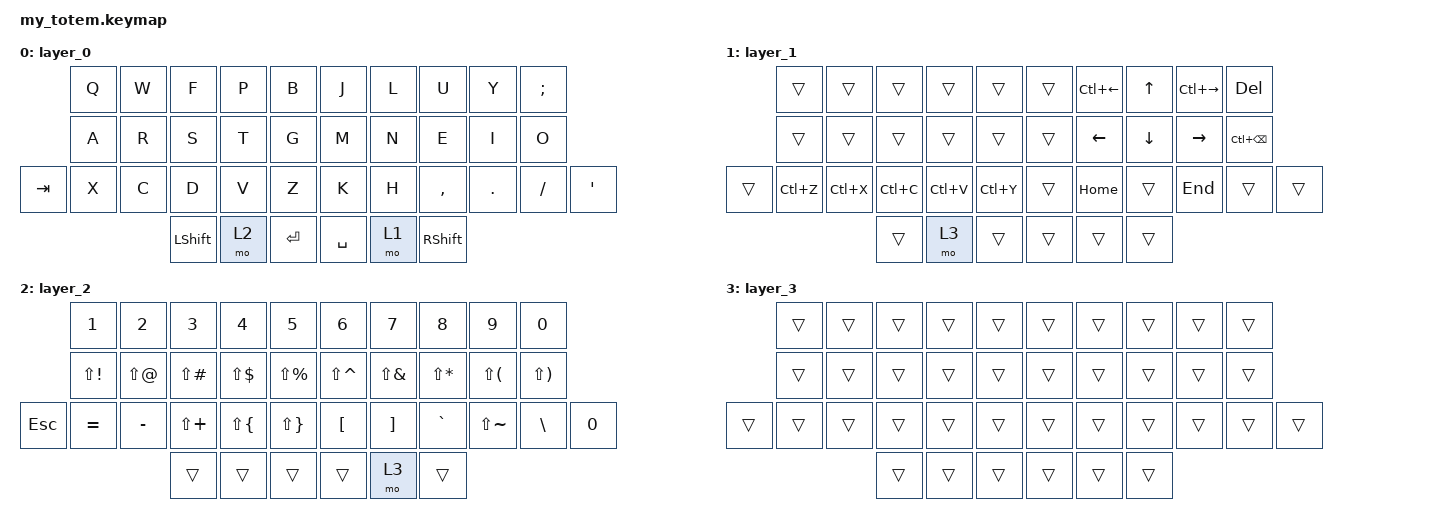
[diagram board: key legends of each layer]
//
//                                                        ▀▀▀▀▀     ▀▀▀▀▀          ▀▀█▀▀
//                                                        ▄▀▀▀▄  ▄  ▄▀▀▀▄  ▄  ▄▀▀▀▄  █  ▄▀▀▀▄
//                                                        █   █  █  █   █  █  █   █  █  █   █
//                                                         ▀▀▀   █   ▀▀▀   █   ▀▀▀   ▀   ▀▀▀
//                                                               █      ▄▄▄█▄▄▄    █   █  
//                                                               ▀      █  █  █     █▄█
//                                                             ▀▀▀▀▀    █  █  █      ▀
//                                                                      ▀  ▀  ▀
//
// ▄▄▄▄▄▄▄▄▄▄▄▄▄▄▄▄▄▄▄▄▄▄▄▄▄▄▄▄▄▄▄▄▄▄▄▄▄▄▄▄▄▄▄▄▄▄▄▄▄▄▄▄▄▄▄▄▄▄▄▄▄▄▄▄▄▄▄▄▄▄▄▄▄▄▄▄▄▄▄▄▄▄▄▄▄▄▄▄▄▄▄▄▄▄▄▄▄▄▄▄▄▄▄▄▄▄▄▄▄▄▄▄▄▄▄▄▄▄▄▄▄▄▄▄▄▄▄▄▄▄▄▄▄▄▄▄▄▄▄▄▄▄▄▄▄▄▄▄▄
       

#include <behaviors.dtsi>
#include <dt-bindings/zmk/keys.h>
#include <dt-bindings/zmk/bt.h>
#include <dt-bindings/zmk/outputs.h>


/ {
    combos {
        compatible = "zmk,combos";

        escape {
            bindings = <&kp ESCAPE>;
            key-positions = <0 1>;
        };

        delete {
            bindings = <&kp BACKSPACE>;
            key-positions = <19 18>;
        };
    };

    behaviors {
        hold: hold {
            compatible = "zmk,behavior-hold-tap";
            label = "HOLD";
            bindings = <&none>, <&none>;

            #binding-cells = <2>;
            require-prior-idle-ms = <50>;
            tapping-term-ms = <50>;
        };
    };

    keymap {
        compatible = "zmk,keymap";

        layer_0 {
            bindings = <
         &kp Q  &kp W  &kp F      &kp P  &kp B      &kp J      &kp L  &kp U      &kp Y    &kp SEMI
         &kp A  &kp R  &kp S      &kp T  &kp G      &kp M      &kp N  &kp E      &kp I    &kp O
&kp TAB  &kp X  &kp C  &kp D      &kp V  &kp Z      &kp K      &kp H  &kp COMMA  &kp DOT  &kp FSLH  &kp SQT
                       &kp LSHFT  &mo 2  &kp RET    &kp SPACE  &mo 1  &kp RSHFT
            >;
        };

        layer_1 {
            bindings = <
        &trans     &trans     &trans     &trans     &trans       &kp PG_UP  &kp LC(LEFT)  &kp UP    &kp LC(RIGHT)  &kp DEL
        &trans     &trans     &trans     &trans     &kp CAPS     &trans     &kp LEFT      &kp DOWN  &kp RIGHT      &kp LC(BSPC)
&trans  &kp LC(Z)  &kp LC(X)  &kp LC(C)  &kp LC(V)  &kp LC(Y)    &kp PG_DN  &kp HOME      &trans    &kp END        &trans        &trans
                              &trans     &mo 3      &trans       &trans     &trans        &trans
            >;
        };

        layer_2 {
            bindings = <
            &kp N1        &kp N2      &kp N3         &kp N4        &kp N5           &kp N6         &kp N7        &kp N8        &kp N9        &kp N0
            &kp LS(EXCL)  &kp LS(AT)  &kp LS(POUND)  &kp LS(DLLR)  &kp LS(PRCNT)    &kp LS(CARET)  &kp LS(AMPS)  &kp LS(STAR)  &kp LS(LPAR)  &kp LS(RPAR)
&kp ESCAPE  &kp EQUAL     &kp MINUS   &kp LS(PLUS)   &kp LS(LBRC)  &kp LS(RBRC)     &kp LBKT       &kp RBKT      &trans        &trans        &trans        &kp N0
                                      &trans         &trans        &trans           &trans         &mo 3         &trans
            >;
        };

        layer_3 {
            bindings = <
        &trans  &trans  &trans  &trans  &trans    &trans  &trans  &trans  &trans  &trans
        &trans  &trans  &trans  &trans  &trans    &trans  &trans  &trans  &trans  &trans
&trans  &trans  &trans  &trans  &trans  &trans    &trans  &trans  &trans  &trans  &trans  &trans
                        &trans  &trans  &trans    &trans  &trans  &trans
            >;
        };
    };
};


#include <behaviors.dtsi>
#include <dt-bindings/zmk/keys.h>

/ {
    combos {
        compatible = "zmk,combos";

        escape {
            bindings = <&kp ESCAPE>;
            key-positions = <0 1>;
        };

        delete {
            bindings = <&kp BACKSPACE>;
            key-positions = <19 18>;
        };
    };

    behaviors {
        hold: hold {
            compatible = "zmk,behavior-hold-tap";
            label = "HOLD";
            bindings = <&none>, <&none>;

            #binding-cells = <2>;
            require-prior-idle-ms = <50>;
            tapping-term-ms = <50>;
        };
    };

    keymap {
        compatible = "zmk,keymap";

        layer_0 {
            bindings = <
         &kp Q  &kp W  &kp F      &kp P  &kp B      &kp J      &kp L  &kp U      &kp Y    &kp SEMI
         &kp A  &kp R  &kp S      &kp T  &kp G      &kp M      &kp N  &kp E      &kp I    &kp O
&kp TAB  &kp X  &kp C  &kp D      &kp V  &kp Z      &kp K      &kp H  &kp COMMA  &kp DOT  &kp FSLH  &kp SQT
                       &kp LSHFT  &mo 2  &kp RET    &kp SPACE  &mo 1  &kp RSHFT
            >;
        };

        layer_1 {
            bindings = <
        &trans     &trans     &trans     &trans     &trans       &trans  &kp LC(LEFT)  &kp UP    &kp LC(RIGHT)  &kp DEL
        &trans     &trans     &trans     &trans     &trans       &trans  &kp LEFT      &kp DOWN  &kp RIGHT      &kp LC(BSPC)
&trans  &kp LC(Z)  &kp LC(X)  &kp LC(C)  &kp LC(V)  &kp LC(Y)    &trans  &kp HOME      &trans    &kp END        &trans        &trans
                              &trans     &mo 3      &trans       &trans  &trans        &trans
            >;
        };

        layer_2 {
            bindings = <
            &kp N1        &kp N2      &kp N3         &kp N4        &kp N5           &kp N6         &kp N7        &kp N8        &kp N9         &kp N0
            &kp LS(EXCL)  &kp LS(AT)  &kp LS(POUND)  &kp LS(DLLR)  &kp LS(PRCNT)    &kp LS(CARET)  &kp LS(AMPS)  &kp LS(STAR)  &kp LS(LPAR)   &kp LS(RPAR)
&kp ESCAPE  &kp EQUAL     &kp MINUS   &kp LS(PLUS)   &kp LS(LBRC)  &kp LS(RBRC)     &kp LBKT       &kp RBKT      &kp GRAVE     &kp LS(TILDE)  &kp BSLH      &kp N0
                                      &trans         &trans        &trans           &trans         &mo 3         &trans
            >;
        };

        layer_3 {
            bindings = <
        &trans  &trans  &trans  &trans  &trans    &trans  &trans  &trans  &trans  &trans
        &trans  &trans  &trans  &trans  &trans    &trans  &trans  &trans  &trans  &trans
&trans  &trans  &trans  &trans  &trans  &trans    &trans  &trans  &trans  &trans  &trans  &trans
                        &trans  &trans  &trans    &trans  &trans  &trans
            >;
        };
    };
};
